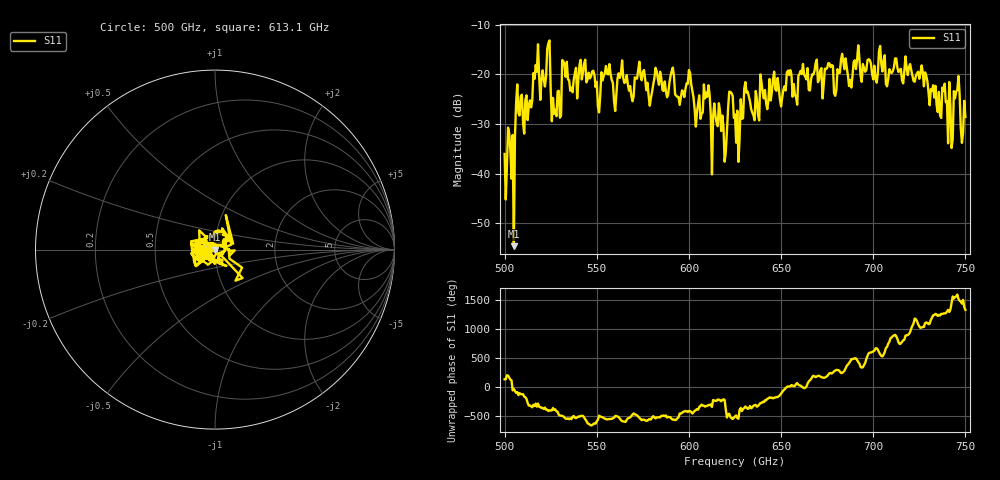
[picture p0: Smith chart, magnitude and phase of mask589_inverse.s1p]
!Created with skrf (http://scikit-rf.org).
# GHz S MA R 50.0
!freq magS11 angS11
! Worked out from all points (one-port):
!   401 points, 500 GHz to 750 GHz, reference 50 ohm
!   lowest |S11| = -54.6 dB at 505 GHz (marker M1), VSWR 1.00, Z = 50.2 - j0.109 ohm
!   |S11| at or under -10 dB: start of sweep to end of sweep
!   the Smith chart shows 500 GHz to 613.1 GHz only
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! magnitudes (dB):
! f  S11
! 500 GHz  -36.0
! 505 GHz  -54.6
! 507.5 GHz  -27.8
! 513.8 GHz  -25.2
! 516.9 GHz  -18.1
! 520.6 GHz  -19.2
! 523.8 GHz  -13.7
! 526.9 GHz  -27.9
! 531.2 GHz  -17.1
! 542.5 GHz  -19.5
! 550.6 GHz  -26.5
! 556.2 GHz  -20.0
! 559.4 GHz  -25.4
! 562.5 GHz  -20.7
! 579.4 GHz  -24.8
! 590.6 GHz  -19.4
! 593.8 GHz  -24.6
! 609.4 GHz  -23.7
! 618.8 GHz  -30.6
! 622.5 GHz  -23.5
! 625 GHz  -28.1
! 656.2 GHz  -24.5
! 680 GHz  -23.1
! 683.8 GHz  -17.3
! 687.5 GHz  -21.1
! 691.2 GHz  -17.0
! 718.8 GHz  -20.1
! 750 GHz  -28.6
